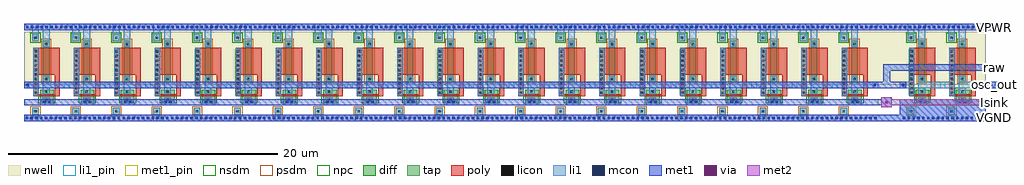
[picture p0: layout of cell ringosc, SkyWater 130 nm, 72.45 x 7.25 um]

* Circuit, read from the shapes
.subckt ringosc Isink VGND VPWR osc_out raw
XM1 roinv_1/A raw Isink VGND sky130_fd_pr__nfet_01v8 w=1 l=0.15
XM2 roinv_2/A roinv_1/A Isink VGND sky130_fd_pr__nfet_01v8 w=1 l=0.15
XM3 roinv_3/A roinv_2/A Isink VGND sky130_fd_pr__nfet_01v8 w=1 l=0.15
XM4 roinv_4/A roinv_3/A Isink VGND sky130_fd_pr__nfet_01v8 w=1 l=0.15
XM5 roinv_5/A roinv_4/A Isink VGND sky130_fd_pr__nfet_01v8 w=1 l=0.15
XM6 roinv_6/A roinv_5/A Isink VGND sky130_fd_pr__nfet_01v8 w=1 l=0.15
XM7 roinv_7/A roinv_6/A Isink VGND sky130_fd_pr__nfet_01v8 w=1 l=0.15
XM8 roinv_8/A roinv_7/A Isink VGND sky130_fd_pr__nfet_01v8 w=1 l=0.15
XM9 roinv_9/A roinv_8/A Isink VGND sky130_fd_pr__nfet_01v8 w=1 l=0.15
XM10 roinv_22/A roinv_9/A Isink VGND sky130_fd_pr__nfet_01v8 w=1 l=0.15
XM11 roinv_21/A roinv_22/A Isink VGND sky130_fd_pr__nfet_01v8 w=1 l=0.15
XM12 roinv_20/A roinv_21/A Isink VGND sky130_fd_pr__nfet_01v8 w=1 l=0.15
XM13 roinv_19/A roinv_20/A Isink VGND sky130_fd_pr__nfet_01v8 w=1 l=0.15
XM14 roinv_18/A roinv_19/A Isink VGND sky130_fd_pr__nfet_01v8 w=1 l=0.15
XM15 roinv_17/A roinv_18/A Isink VGND sky130_fd_pr__nfet_01v8 w=1 l=0.15
XM16 roinv_16/A roinv_17/A Isink VGND sky130_fd_pr__nfet_01v8 w=1 l=0.15
XM17 roinv_15/A roinv_16/A Isink VGND sky130_fd_pr__nfet_01v8 w=1 l=0.15
XM18 roinv_14/A roinv_15/A Isink VGND sky130_fd_pr__nfet_01v8 w=1 l=0.15
XM19 roinv_13/A roinv_14/A Isink VGND sky130_fd_pr__nfet_01v8 w=1 l=0.15
XM20 roinv_12/A roinv_13/A Isink VGND sky130_fd_pr__nfet_01v8 w=1 l=0.15
XM21 raw roinv_12/A Isink VGND sky130_fd_pr__nfet_01v8 w=1 l=0.15
XM22 roinv_10/A raw VGND VGND sky130_fd_pr__nfet_01v8 w=1 l=0.15
XM23 osc_out roinv_10/A VGND VGND sky130_fd_pr__nfet_01v8 w=1 l=0.15
XM24 VPWR raw roinv_1/A VPWR sky130_fd_pr__pfet_01v8 w=0.5 l=2
XM25 VPWR roinv_1/A roinv_2/A VPWR sky130_fd_pr__pfet_01v8 w=0.5 l=2
XM26 VPWR roinv_2/A roinv_3/A VPWR sky130_fd_pr__pfet_01v8 w=0.5 l=2
XM27 VPWR roinv_3/A roinv_4/A VPWR sky130_fd_pr__pfet_01v8 w=0.5 l=2
XM28 VPWR roinv_4/A roinv_5/A VPWR sky130_fd_pr__pfet_01v8 w=0.5 l=2
XM29 VPWR roinv_5/A roinv_6/A VPWR sky130_fd_pr__pfet_01v8 w=0.5 l=2
XM30 VPWR roinv_6/A roinv_7/A VPWR sky130_fd_pr__pfet_01v8 w=0.5 l=2
XM31 VPWR roinv_7/A roinv_8/A VPWR sky130_fd_pr__pfet_01v8 w=0.5 l=2
XM32 VPWR roinv_8/A roinv_9/A VPWR sky130_fd_pr__pfet_01v8 w=0.5 l=2
XM33 VPWR roinv_9/A roinv_22/A VPWR sky130_fd_pr__pfet_01v8 w=0.5 l=2
XM34 VPWR roinv_22/A roinv_21/A VPWR sky130_fd_pr__pfet_01v8 w=0.5 l=2
XM35 VPWR roinv_21/A roinv_20/A VPWR sky130_fd_pr__pfet_01v8 w=0.5 l=2
XM36 VPWR roinv_20/A roinv_19/A VPWR sky130_fd_pr__pfet_01v8 w=0.5 l=2
XM37 VPWR roinv_19/A roinv_18/A VPWR sky130_fd_pr__pfet_01v8 w=0.5 l=2
XM38 VPWR roinv_18/A roinv_17/A VPWR sky130_fd_pr__pfet_01v8 w=0.5 l=2
XM39 VPWR roinv_17/A roinv_16/A VPWR sky130_fd_pr__pfet_01v8 w=0.5 l=2
XM40 VPWR roinv_16/A roinv_15/A VPWR sky130_fd_pr__pfet_01v8 w=0.5 l=2
XM41 VPWR roinv_15/A roinv_14/A VPWR sky130_fd_pr__pfet_01v8 w=0.5 l=2
XM42 VPWR roinv_14/A roinv_13/A VPWR sky130_fd_pr__pfet_01v8 w=0.5 l=2
XM43 VPWR roinv_13/A roinv_12/A VPWR sky130_fd_pr__pfet_01v8 w=0.5 l=2
XM44 VPWR roinv_12/A raw VPWR sky130_fd_pr__pfet_01v8 w=0.5 l=2
XM45 VPWR raw roinv_10/A VPWR sky130_fd_pr__pfet_01v8 w=0.5 l=2
XM46 VPWR roinv_10/A osc_out VPWR sky130_fd_pr__pfet_01v8 w=0.5 l=2
.ends

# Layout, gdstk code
import gdstk
lib = gdstk.Library(unit=1e-6, precision=1e-09)
def R(c, l, rs):  # rectangles x0, y0, x1, y1
    for r in rs: c.add(gdstk.rectangle(r[:2], r[2:], *l))
def A(c, l, x, y, w, h, nx, ny, dx, dy):  # array of equal rectangles
    R(c, l, [(x+i*dx, y+j*dy, x+i*dx+w, y+j*dy+h) for i in range(nx) for j in range(ny)])
nwell = (64, 20)
diff = (65, 20)
tap = (65, 44)
poly = (66, 20)
licon = (66, 44)
li1_pin = (67, 16)
li1 = (67, 20)
mcon = (67, 44)
met1_pin = (68, 16)
met1 = (68, 20)
via = (68, 44)
met2 = (69, 20)
nsdm = (93, 44)
psdm = (94, 20)
npc = (95, 20)

roinv = lib.new_cell('roinv')
R(roinv, nwell, [(-1.1,1.55,2.3,5.5)])
R(roinv, diff, [(0.1,0.3,1.1,1.2), (0.3,1.75,0.8,4.85)])
R(roinv, tap, [(-0.5,-0.65,0,-0.15), (-0.5,4.8,0,5.3)])
R(roinv, poly, [(-0.4,0.7,1.55,0.85), (-0.4,0.85,0,2.3), (1.2,0.85,1.55,2.3), (-0.4,2.3,1.55,4.3)])
A(roinv, licon, -0.31, 0.885, 0.17, 0.17, 1, 10, 0, 0.34)
R(roinv, licon, [(-0.335,-0.485,-0.165,-0.315), (0.465,0.365,0.635,0.535), (0.465,0.965,0.635,1.135), (0.465,1.915,0.635,2.085), (0.465,4.515,0.635,4.685), (-0.335,4.965,-0.165,5.135)])
R(roinv, li1_pin, [(-0.5,-1.15,0,-0.65), (-1.1,1.3,-0.7,1.8), (1.9,1.3,2.3,1.8), (-0.5,5.6,0,6.1), (0.3,5.6,0.8,6.1)])
R(roinv, li1, [(-0.5,-1.15,0,-0.15), (0.1,0.05,1.1,0.5), (0.3,0.5,0.8,0.65), (-0.4,0.7,0,1.3), (0.3,0.85,0.8,1.3), (-1.1,1.3,0,1.8), (0.3,1.3,2.3,1.8), (-0.4,1.8,0,4.3), (0.3,1.8,0.8,2.25), (0.3,4.35,0.8,6.1), (-0.5,4.8,0,6.1)])
R(roinv, mcon, [(0.335,0.19,0.505,0.36), (0.695,0.19,0.865,0.36)])
R(roinv, met1_pin, [(-1.1,0.05,2.3,0.5)])
R(roinv, met1, [(-1.1,0.05,2.3,0.5)])
R(roinv, nsdm, [(-0.025,0.175,1.225,1.325), (-0.625,4.675,0.125,5.425)])
R(roinv, psdm, [(-0.625,-0.775,0.125,-0.025), (0.175,1.625,0.925,4.975)])
R(roinv, npc, [(-0.41,0.785,-0.04,4.215)])
roinv.add(gdstk.Label('VNB', (-0.25,-0.9), layer=67, texttype=5))
roinv.add(gdstk.Label('Y', (2.1,1.55), layer=67, texttype=5))
roinv.add(gdstk.Label('A', (-0.9,1.55), layer=67, texttype=5))
roinv.add(gdstk.Label('VPWR', (0.55,5.85), layer=67, texttype=5))
roinv.add(gdstk.Label('VPB', (-0.25,5.85), layer=67, texttype=5))
roinv.add(gdstk.Label('VGND', (0.6,0.275), layer=68, texttype=5))

ringosc = lib.new_cell('ringosc')
R(ringosc, nwell, [(63.3,2.7,65.1,6.65)])
R(ringosc, li1, [(0,0,71.4,0.5), (65,0.5,71.4,1.65), (70.9,2.45,72.45,2.95), (0.1,2.55,0.4,2.85), (63,2.55,63.3,2.85), (65.1,2.55,65.4,2.85), (0,6.75,71.4,7.25)])
A(ringosc, mcon, 0.115, 0.165, 0.17, 0.17, 176, 1, 0.36, 0)
A(ringosc, mcon, 65.235, 0.165, 0.17, 0.17, 17, 1, 0.36, 0)
A(ringosc, mcon, 0.155, 6.915, 0.17, 0.17, 198, 1, 0.36, 0)
R(ringosc, mcon, [(0.165,2.615,0.335,2.785), (63.065,2.615,63.235,2.785), (65.165,2.615,65.335,2.785), (71.71,2.615,71.88,2.785), (72.07,2.615,72.24,2.785)])
R(ringosc, met1_pin, [(71.6,0,72.45,0.5), (71.6,1.2,72.45,1.65), (71.6,2.45,72.45,2.95), (71.6,3.75,72.45,4.25), (71.6,6.75,72.45,7.25)])
R(ringosc, met1, [(0,0,72.45,0.5), (65,0.5,71.4,1.65), (63.65,1.05,64.4,1.2), (62.9,1.2,64.4,1.65), (71.6,1.2,72.45,1.65), (63.65,1.65,64.4,1.8), (0,2.45,65.5,2.95), (71.5,2.45,72.45,2.95), (63.8,2.95,64.3,3.75), (63.8,3.75,72.45,4.25), (0,6.75,72.45,7.25)])
R(ringosc, via, [(63.95,1.35,64.1,1.5), (71.79,1.35,71.94,1.5), (72.11,1.35,72.26,1.5)])
R(ringosc, met2, [(63.65,1.05,64.4,1.2), (63.65,1.2,72.45,1.65), (63.65,1.65,64.4,1.8)])
ringosc.add(gdstk.Reference(roinv, (1.1,1.15)))
ringosc.add(gdstk.Reference(roinv, (4.1,1.15)))
ringosc.add(gdstk.Reference(roinv, (7.1,1.15)))
ringosc.add(gdstk.Reference(roinv, (10.1,1.15)))
ringosc.add(gdstk.Reference(roinv, (13.1,1.15)))
ringosc.add(gdstk.Reference(roinv, (16.1,1.15)))
ringosc.add(gdstk.Reference(roinv, (19.1,1.15)))
ringosc.add(gdstk.Reference(roinv, (22.1,1.15)))
ringosc.add(gdstk.Reference(roinv, (25.1,1.15)))
ringosc.add(gdstk.Reference(roinv, (28.1,1.15)))
ringosc.add(gdstk.Reference(roinv, (69.1,1.15)))
ringosc.add(gdstk.Reference(roinv, (66.1,1.15)))
ringosc.add(gdstk.Reference(roinv, (61.1,1.15)))
ringosc.add(gdstk.Reference(roinv, (58.1,1.15)))
ringosc.add(gdstk.Reference(roinv, (55.1,1.15)))
ringosc.add(gdstk.Reference(roinv, (52.1,1.15)))
ringosc.add(gdstk.Reference(roinv, (49.1,1.15)))
ringosc.add(gdstk.Reference(roinv, (46.1,1.15)))
ringosc.add(gdstk.Reference(roinv, (43.1,1.15)))
ringosc.add(gdstk.Reference(roinv, (40.1,1.15)))
ringosc.add(gdstk.Reference(roinv, (37.1,1.15)))
ringosc.add(gdstk.Reference(roinv, (34.1,1.15)))
ringosc.add(gdstk.Reference(roinv, (31.1,1.15)))
ringosc.add(gdstk.Label('VPWR', (72.025,7), layer=68, texttype=5))
ringosc.add(gdstk.Label('osc_out', (72.025,2.7), layer=68, texttype=5))
ringosc.add(gdstk.Label('VGND', (72.025,0.25), layer=68, texttype=5))
ringosc.add(gdstk.Label('raw', (72.025,4), layer=68, texttype=5))
ringosc.add(gdstk.Label('Isink', (72.025,1.425), layer=68, texttype=5))

lib.write_gds('ringosc.gds')
